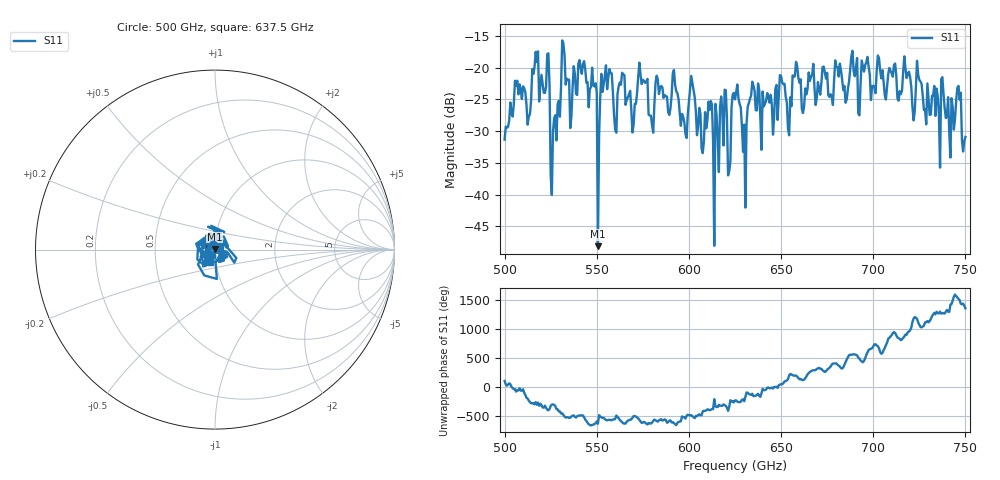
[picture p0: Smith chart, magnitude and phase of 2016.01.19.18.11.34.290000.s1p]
!Created with skrf (http://scikit-rf.org).
# GHz S RI R 50.0
!freq ReS11 ImS11
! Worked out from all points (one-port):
!   401 points, 500 GHz to 750 GHz, reference 50 ohm
!   lowest |S11| = -48.1 dB at 550.6 GHz (marker M1), VSWR 1.01, Z = 50 + j0.39 ohm
!   |S11| at or under -10 dB: start of sweep to end of sweep
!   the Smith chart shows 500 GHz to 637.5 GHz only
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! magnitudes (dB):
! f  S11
! 500 GHz  -31.4
! 506.9 GHz  -22.1
! 513.1 GHz  -27.7
! 516.9 GHz  -17.5
! 523.1 GHz  -17.9
! 526.2 GHz  -30.1
! 531.2 GHz  -15.7
! 548.8 GHz  -23.0
! 550.6 GHz  -48.1
! 553.8 GHz  -22.6
! 562.5 GHz  -22.3
! 593.8 GHz  -24.0
! 598.1 GHz  -30.4
! 601.9 GHz  -22.4
! 608.1 GHz  -31.6
! 611.2 GHz  -26.7
! 615 GHz  -27.5
! 618.8 GHz  -32.3
! 621.9 GHz  -36.3
! 625 GHz  -25.0
! 630 GHz  -29.0
! 634.4 GHz  -22.2
! 656.2 GHz  -21.2
! 687.5 GHz  -20.3
! 718.8 GHz  -21.0
! 740.6 GHz  -24.7
! 746.2 GHz  -22.9
! 750 GHz  -30.9
